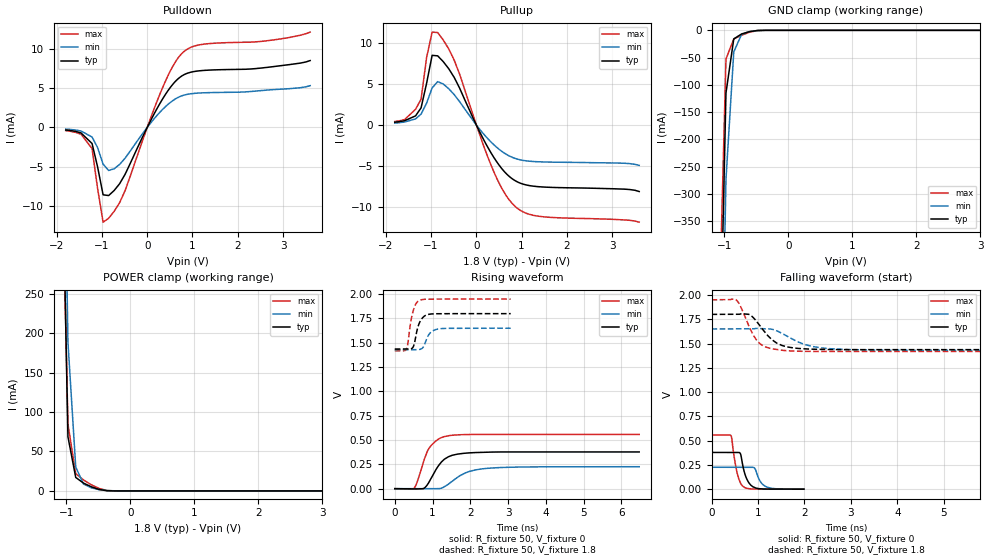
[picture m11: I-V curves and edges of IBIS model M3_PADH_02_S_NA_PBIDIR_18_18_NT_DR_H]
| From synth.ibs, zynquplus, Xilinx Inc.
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[Model] M3_PADH_02_S_NA_PBIDIR_18_18_NT_DR_H
Model_type I/O
Vinl  =  0.63
Vinh  =  1.17
Vmeas =  0.90
Vref  =  0.90
| Capacitance   typ   min   max
C_comp   2.42338826902e-12   2.41853784282e-12   2.42527464697e-12
| Variables   typ   min   max
[GND Clamp Reference]   0   0   0
[POWER Clamp Reference]   1.8   1.65   1.95
[Pulldown Reference]   0   0   0
[Pullup Reference]   1.8   1.65   1.95
[Temperature Range]   25   125   -40
[Voltage Range]   1.8   1.65   1.95
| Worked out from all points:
|   slope of the pulldown table from 0 to 0.27 V, typ, clamps not added: 92.1 ohm
|   slope of the pullup table from 0 to 0.27 V, typ, clamps not added: 93.8 ohm
|   GND clamp passes 1 mA (typ) near -0.52 V on its own axis
|   POWER clamp passes 1 mA (typ) near -0.42 V on its own axis
|   falling waveform, R_fixture 50, V_fixture 0: 20-80 % time 140ps typ, 148ps min, 128ps max; typ from 0.379 V to 0 V
|   falling waveform, R_fixture 50, V_fixture 1.8: 20-80 % time 420ps typ, 630ps min, 329ps max; typ from 1.8 V to 1.44 V
|   rising waveform, R_fixture 50, V_fixture 0: 20-80 % time 392ps typ, 590ps min, 336ps max; typ from 0 V to 0.378 V
|   rising waveform, R_fixture 50, V_fixture 1.8: 20-80 % time 153ps typ, 169ps min, 142ps max; typ from 1.44 V to 1.8 V
[GND Clamp]
| Voltage   I(typ)   I(min)   I(max)
-1.8V     -8.145A    -7.608A    -8.717A
-1.097V   -761mA     -1.004A    -593mA
-975mV    -114.8mA   -273.3mA   -52.67mA
-853.1mV  -15.73mA   -39.57mA   -15.8mA
-731.2mV  -6.674mA   -7.503mA   -8.974mA
-609.4mV  -2.475mA   -2.188mA   -3.569mA
-487.5mV  -352.5uA   -416.6uA   -501uA
-365.6mV  -8.518uA   -27.49uA   -5.911uA
3.6V      0A         0A         0A
[POWER Clamp]
| Voltage   I(typ)   I(min)   I(max)
-1.8V     8.169A     7.712A     8.61A
-1.097V   571mA      802.9mA    525.4mA
-975mV    68.73mA    188.8mA    84.81mA
-853.1mV  17.09mA    30.23mA    21.99mA
-731.2mV  9.893mA    8.687mA    13.86mA
-609.4mV  5.253mA    3.946mA    7.809mA
-487.5mV  1.881mA    1.564mA    3.118mA
-365.6mV  236.8uA    397.8uA    610.4uA
-243.7mV  4.797uA    173.9uA    37.81uA
3.6V      0A         0A         0A
[Pulldown]
| Voltage   I(typ)   I(min)   I(max)
-1.8V     -330.2uA   -216uA     -412.4uA
-1.462V   -701.4uA   -457.3uA   -867.4uA
-1.219V   -2.043mA   -1.221mA   -2.684mA
-975mV    -8.549mA   -4.663mA   -12.02mA
-853.1mV  -8.644mA   -5.46mA    -11.53mA
-609.4mV  -7.136mA   -4.688mA   -9.538mA
309.4mV   3.319mA    2.101mA    4.628mA
562.5mV   5.448mA    3.384mA    7.719mA
787.5mV   6.605mA    4.049mA    9.495mA
1.181V    7.193mA    4.371mA    10.5mA
2.653V    7.615mA    4.736mA    11mA
3.6V      8.476mA    5.29mA     12.09mA
[Pullup]
| Voltage   I(typ)   I(min)   I(max)
-1.8V     329.7uA    216.1uA    412.9uA
-1.584V   507.4uA    354.3uA    641uA
-1.341V   1.104mA    733uA      1.911mA
-1.219V   2.084mA    1.325mA    3.138mA
-1.097V   5.081mA    2.656mA    8.23mA
-975mV    8.499mA    4.515mA    11.34mA
-853.1mV  8.442mA    5.286mA    11.29mA
-487.5mV  5.81mA     3.701mA    7.92mA
421.9mV   -4.256mA   -2.591mA   -6.146mA
843.8mV   -6.764mA   -4.066mA   -9.879mA
1.406V    -7.565mA   -4.514mA   -11.18mA
3.6V      -8.144mA   -4.941mA   -11.89mA
[Ramp]
dV/dt_r   0.22712/0.39386n  0.135522/0.591083n  0.335137/0.338n
dV/dt_f   0.218507/0.420062n  0.132522/0.630429n  0.319484/0.329801n
R_load = 50
[Falling Waveform]
R_fixture = 50
V_fixture = 0
V_fixture_min = 0
V_fixture_max = 0
| Time   V(typ)   V(min)   V(max)
0s        378.5mV    225.9mV    558.6mV
419ps     378mV      225.6mV    550.7mV
553.7ps   377.9mV    225.4mV    161.9mV
624.1ps   362.5mV    225.4mV    62.33mV
715.8ps   159.8mV    225.3mV    16.13mV
811.9ps   60.67mV    225.2mV    4.901mV
923.8ps   17.96mV    218.8mV    1.391mV
1.046ns   4.414mV    82.24mV    1.036mV
1.186ns   1.297mV    23.32mV    637uV
1.989ns   250.9uV    926.3uV    341uV
[Falling Waveform]
R_fixture = 50
V_fixture = 1.8
V_fixture_min = 1.65
V_fixture_max = 1.95
| Time   V(typ)   V(min)   V(max)
0s        1.8V       1.65V      1.95V
525.9ps   1.801V     1.65V      1.951V
624.1ps   1.804V     1.651V     1.883V
820.6ps   1.797V     1.651V     1.662V
1.058ns   1.673V     1.653V     1.492V
1.405ns   1.504V     1.63V      1.438V
1.78ns    1.453V     1.536V     1.422V
2.355ns   1.439V     1.456V     1.418V
3.689ns   1.437V     1.432V     1.418V
32.06ns   1.436V     1.429V     1.418V
[Rising Waveform]
R_fixture = 50
V_fixture = 0
V_fixture_min = 0
V_fixture_max = 0
| Time   V(typ)   V(min)   V(max)
0s        1.089uV    2.388uV    854.7nV
507ps     -2.234mV   -617.3uV   2.855mV
586.8ps   -2.934mV   -714.9uV   61.25mV
767.1ps   2.08mV     -1.773mV   284.8mV
912.6ps   71.32mV    -1.511mV   419mV
1.142ns   228.4mV    49.74uV    505.9mV
1.346ns   311mV      27.56mV    538.7mV
1.848ns   364.4mV    159mV      556.1mV
2.438ns   375.1mV    208.8mV    557.7mV
6.471ns   377.7mV    225.7mV    557.7mV
[Rising Waveform]
R_fixture = 50
V_fixture = 1.8
V_fixture_min = 1.65
V_fixture_max = 1.95
| Time   V(typ)   V(min)   V(max)
0s        1.436V     1.429V     1.418V
307.1ps   1.436V     1.429V     1.434V
343ps     1.437V     1.429V     1.485V
480.3ps   1.453V     1.429V     1.818V
554.4ps   1.561V     1.429V     1.897V
662.3ps   1.713V     1.432V     1.938V
753.9ps   1.764V     1.456V     1.946V
926.3ps   1.795V     1.597V     1.949V
1.128ns   1.799V     1.64V      1.949V
3.069ns   1.8V       1.65V      1.95V
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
